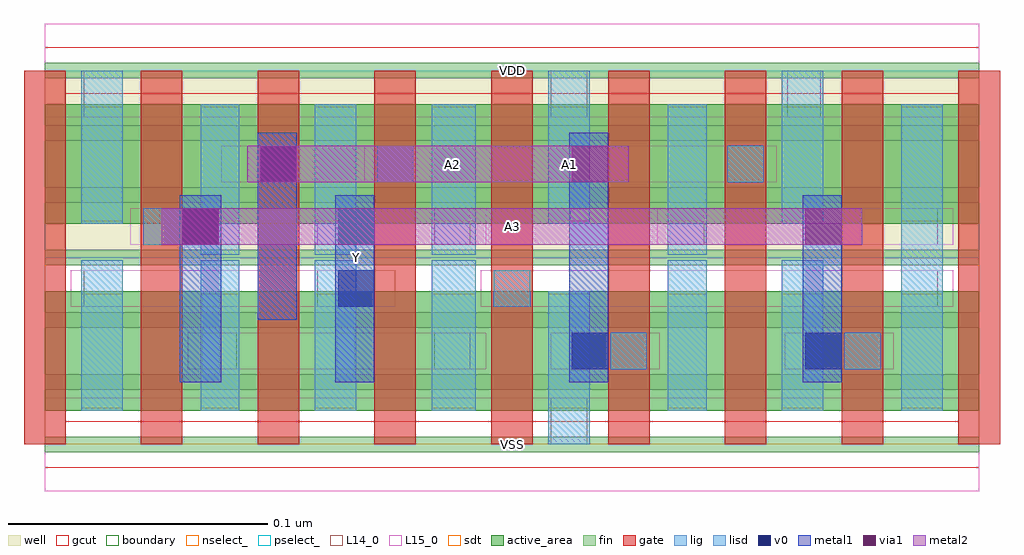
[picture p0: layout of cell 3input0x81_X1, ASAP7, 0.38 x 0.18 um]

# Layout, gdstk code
import gdstk
lib = gdstk.Library(unit=1e-6, precision=1e-09)
def R(c, l, rs):  # rectangles x0, y0, x1, y1
    for r in rs: c.add(gdstk.rectangle(r[:2], r[2:], *l))
def A(c, l, x, y, w, h, nx, ny, dx, dy):  # array of equal rectangles
    R(c, l, [(x+i*dx, y+j*dy, x+i*dx+w, y+j*dy+h) for i in range(nx) for j in range(ny)])
def P(c, l, *ps):  # polygons
    for p in ps: c.add(gdstk.Polygon(p, *l))
well = (1, 0)
fin = (2, 0)
gate = (7, 0)
gcut = (10, 0)
active_area = (11, 0)
nselect_ = (12, 0)
pselect_ = (13, 0)
L14_0 = (14, 0)
L15_0 = (15, 0)
lig = (16, 0)
lisd = (17, 0)
v0 = (18, 0)
metal1 = (19, 0)
metal2 = (20, 0)
via1 = (21, 0)
sdt = (88, 0)
boundary = (100, 0)

c_3input0x81_x1 = lib.new_cell('3input0x81_X1')
R(c_3input0x81_x1, well, [(0,0.072,0.36,0.144)])
A(c_3input0x81_x1, fin, 0, -0.003, 0.36, 0.006, 1, 7, 0, 0.024)
A(c_3input0x81_x1, gate, -0.008, 0, 0.016, 0.144, 9, 1, 0.045, 0)
P(c_3input0x81_x1, gcut, [(0,-0.009),(0,0),(-0.008,0),(-0.008,0.135),(0.008,0.135),(0.008,0.009),(0.352,0.009),(0.352,0.135),(-0.008,0.135),(-0.008,0.144),(0,0.144),(0,0.153),(0.36,0.153),(0.36,0.144),(0.368,0.144),(0.368,0),(0.36,0),(0.36,-0.009)])
R(c_3input0x81_x1, active_area, [(0,0.013,0.36,0.059), (0,0.085,0.36,0.131)])
R(c_3input0x81_x1, nselect_, [(0,0,0.36,0.072)])
R(c_3input0x81_x1, pselect_, [(0,0.072,0.36,0.144)])
A(c_3input0x81_x1, L14_0, 0.15, 0.077, 0.014, 0.014, 3, 1, 0.09, 0)
R(c_3input0x81_x1, L14_0, [(0.195,0,0.209,0.018), (0.06,0.029,0.074,0.043), (0.15,0.029,0.164,0.043), (0.218,0.029,0.232,0.043), (0.308,0.029,0.322,0.043), (0.015,0.053,0.03,0.067), (0.105,0.053,0.12,0.067), (0.173,0.053,0.187,0.067), (0.33,0.053,0.344,0.067), (0.038,0.077,0.052,0.091), (0.083,0.101,0.097,0.115), (0.128,0.101,0.142,0.115), (0.263,0.101,0.277,0.115), (0.015,0.126,0.03,0.144), (0.195,0.126,0.209,0.144), (0.286,0.126,0.299,0.144)])
R(c_3input0x81_x1, L15_0, [(0,-0.018,0.36,0.018), (0.055,0.029,0.17,0.043), (0.195,0.029,0.237,0.043), (0.285,0.029,0.327,0.043), (0.01,0.053,0.135,0.067), (0.168,0.053,0.35,0.067), (0.033,0.077,0.075,0.091), (0.105,0.077,0.17,0.091), (0.236,0.077,0.35,0.091), (0.068,0.101,0.105,0.115), (0.123,0.101,0.282,0.115), (0,0.126,0.36,0.162)])
R(c_3input0x81_x1, lig, [(0.218,0.029,0.232,0.043), (0.308,0.029,0.322,0.043), (0.173,0.053,0.187,0.067), (0.038,0.077,0.052,0.091), (0.083,0.101,0.097,0.115), (0.128,0.101,0.142,0.115), (0.263,0.101,0.277,0.115)])
R(c_3input0x81_x1, lisd, [(0.194,0,0.21,0.059), (0.014,0.013,0.03,0.071), (0.06,0.013,0.075,0.071), (0.104,0.013,0.12,0.071), (0.149,0.013,0.166,0.071), (0.24,0.013,0.255,0.071), (0.284,0.013,0.3,0.071), (0.33,0.013,0.346,0.131), (0.06,0.073,0.075,0.131), (0.104,0.073,0.12,0.131), (0.149,0.073,0.166,0.131), (0.24,0.073,0.255,0.131), (0.014,0.085,0.03,0.144), (0.194,0.085,0.21,0.144), (0.284,0.085,0.3,0.144)])
R(c_3input0x81_x1, v0, [(0.203,0.029,0.217,0.043), (0.293,0.029,0.307,0.043), (0.113,0.053,0.127,0.067), (0.053,0.077,0.067,0.091), (0.113,0.077,0.127,0.091), (0.083,0.101,0.097,0.115)])
R(c_3input0x81_x1, metal1, [(0.052,0.024,0.068,0.096), (0.112,0.024,0.127,0.096), (0.202,0.024,0.217,0.12), (0.292,0.024,0.307,0.096), (0.082,0.048,0.097,0.12)])
R(c_3input0x81_x1, metal2, [(0.045,0.077,0.315,0.091), (0.078,0.101,0.225,0.115)])
R(c_3input0x81_x1, via1, [(0.053,0.077,0.067,0.091), (0.293,0.077,0.307,0.091), (0.083,0.101,0.097,0.115), (0.203,0.101,0.217,0.115)])
A(c_3input0x81_x1, sdt, 0.014, 0.014, 0.016, 0.044, 4, 2, 0.09, 0.072)
R(c_3input0x81_x1, sdt, [(0.06,0.014,0.075,0.058), (0.149,0.014,0.166,0.058), (0.24,0.014,0.255,0.058), (0.33,0.014,0.346,0.058), (0.06,0.086,0.075,0.13), (0.149,0.086,0.166,0.13), (0.24,0.086,0.255,0.13), (0.33,0.086,0.346,0.13)])
R(c_3input0x81_x1, boundary, [(0,0,0.36,0.144)])
c_3input0x81_x1.add(gdstk.Label('A1', (0.202,0.108), layer=15, texttype=251))
c_3input0x81_x1.add(gdstk.Label('VSS', (0.18,0), layer=15, texttype=251))
c_3input0x81_x1.add(gdstk.Label('VDD', (0.18,0.144), layer=15, texttype=251))
c_3input0x81_x1.add(gdstk.Label('VSS', (0.18,0), layer=15, texttype=251))
c_3input0x81_x1.add(gdstk.Label('VDD', (0.18,0.144), layer=15, texttype=251))
c_3input0x81_x1.add(gdstk.Label('VSS', (0.18,0), layer=15, texttype=251))
c_3input0x81_x1.add(gdstk.Label('VDD', (0.18,0.144), layer=15, texttype=251))
c_3input0x81_x1.add(gdstk.Label('VSS', (0.18,0), layer=15, texttype=251))
c_3input0x81_x1.add(gdstk.Label('VDD', (0.18,0.144), layer=15, texttype=251))
c_3input0x81_x1.add(gdstk.Label('VSS', (0.18,0), layer=3, texttype=251))
c_3input0x81_x1.add(gdstk.Label('VSS', (0.18,0), layer=3, texttype=251))
c_3input0x81_x1.add(gdstk.Label('VSS', (0.18,0), layer=3, texttype=251))
c_3input0x81_x1.add(gdstk.Label('VSS', (0.18,0), layer=3, texttype=251))
c_3input0x81_x1.add(gdstk.Label('VDD', (0.18,0.144), layer=1, texttype=251))
c_3input0x81_x1.add(gdstk.Label('VDD', (0.18,0.144), layer=1, texttype=251))
c_3input0x81_x1.add(gdstk.Label('VDD', (0.18,0.144), layer=1, texttype=251))
c_3input0x81_x1.add(gdstk.Label('VDD', (0.18,0.144), layer=1, texttype=251))
c_3input0x81_x1.add(gdstk.Label('A3', (0.18,0.084), layer=20, texttype=251))
c_3input0x81_x1.add(gdstk.Label('A2', (0.157,0.108), layer=20, texttype=251))
c_3input0x81_x1.add(gdstk.Label('Y', (0.12,0.072), layer=19, texttype=251))

lib.write_gds('3input0x81_X1.gds')
